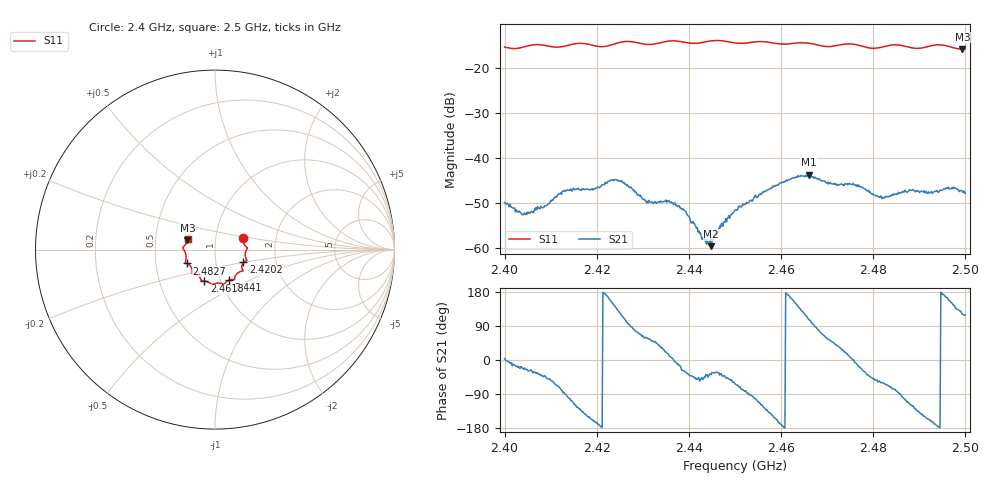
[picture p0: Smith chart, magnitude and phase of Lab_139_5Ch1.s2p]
# Hz S RI R 50
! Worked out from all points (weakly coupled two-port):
!   601 points, 2.4 GHz to 2.5 GHz, reference 50 ohm
!   highest |S21| = -43.73 dB at 2.466 GHz (marker M1); lowest = -59.6 dB at 2.4448 GHz (marker M2)
!   lowest |S11| = -15.8 dB at 2.4993 GHz (marker M3), VSWR 1.39, Z = 36.5 + j3.84 ohm
!   |S11| at or under -10 dB: start of sweep to end of sweep
!   S12 and S22 are empty: the file has one direction only
!   S11 on the Smith chart (normalised r, x): 2.4 GHz: 1.36, +0.18; 2.4202 GHz: 1.36, -0.20; 2.441 GHz: 1.10, -0.39; 2.4618 GHz: 0.84, -0.30; 2.4827 GHz: 0.72, -0.12; 2.5 GHz: 0.73, +0.09
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2.4e9  0.158 0.0626  0.00321 0.000235  0 0  0 0
2.404167e9  0.1699 0.0186  0.00214 -0.000988  0 0  0 0
2.408833e9  0.1771 0.00273  0.00214 -0.00205  0 0  0 0
2.413e9  0.1696 -0.0397  0.00016 -0.00436  0 0  0 0
2.416667e9  0.1772 -0.0607  -0.00307 -0.00311  0 0  0 0
2.420167e9  0.1583 -0.0711  -0.00468 -0.000902  0 0  0 0
2.424833e9  0.1539 -0.1125  -0.00331 0.0044  0 0  0 0
2.430667e9  0.1297 -0.1285  0.00173 0.00283  0 0  0 0
2.433333e9  0.1115 -0.151  0.00251 0.00211  0 0  0 0
2.437333e9  0.1068 -0.1674  0.00295 -0.000411  0 0  0 0
2.441e9  0.0784 -0.1697  0.00136 -0.00131  0 0  0 0
2.443333e9  0.0589 -0.1841  0.000899 -0.000881  0 0  0 0
2.444833e9  0.0527 -0.1923  0.000821 -0.000656  0 0  0 0
2.45e9  0.0283 -0.1871  0.0012 -0.00235  0 0  0 0
2.461833e9  -0.0595 -0.1754  -0.00564 0.0012  0 0  0 0
2.466e9  -0.0773 -0.1712  -0.00191 0.00622  0 0  0 0
2.466667e9  -0.0782 -0.1682  -0.000818 0.00615  0 0  0 0
2.482667e9  -0.1561 -0.0773  0.00158 -0.00341  0 0  0 0
2.483333e9  -0.1604 -0.0753  0.00139 -0.00345  0 0  0 0
2.488333e9  -0.1609 -0.0455  -0.00215 -0.00382  0 0  0 0
2.499333e9  -0.1538 0.0512  -0.00226 0.00364  0 0  0 0
2.5e9  -0.152 0.0608  -0.00197 0.00357  0 0  0 0
